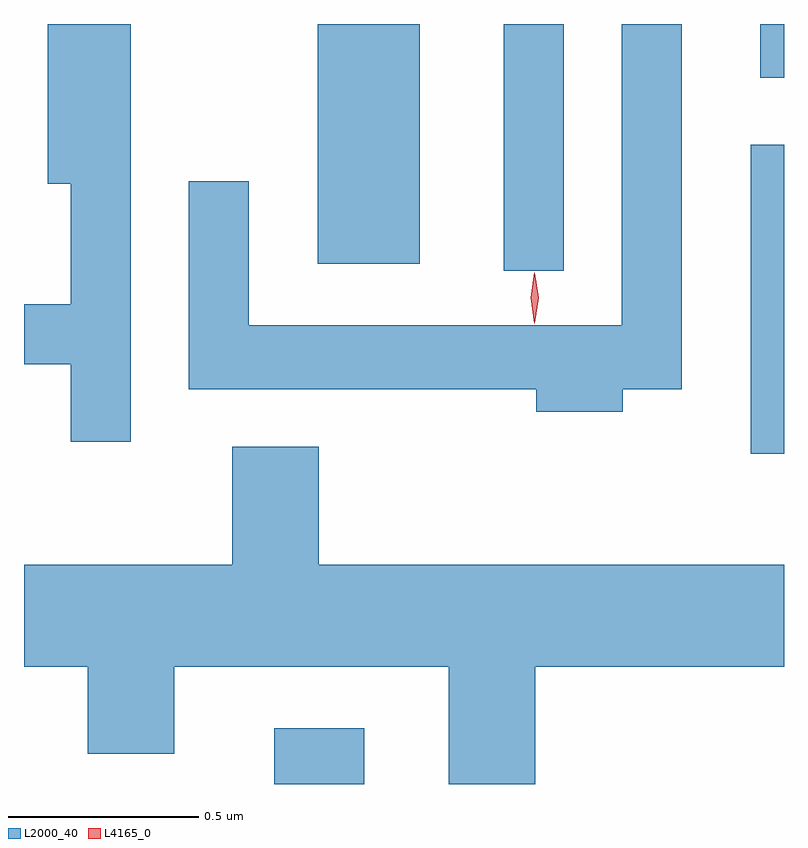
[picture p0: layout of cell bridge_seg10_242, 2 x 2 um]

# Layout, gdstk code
import gdstk
lib = gdstk.Library(unit=1e-6, precision=1e-09)
def R(c, l, rs):  # rectangles x0, y0, x1, y1
    for r in rs: c.add(gdstk.rectangle(r[:2], r[2:], *l))
def P(c, l, *ps):  # polygons
    for p in ps: c.add(gdstk.Polygon(p, *l))
L2000_40 = (2000, 40)
L4165_0 = (4165, 0)

bridge_seg10_242 = lib.new_cell('bridge_seg10_242')
R(bridge_seg10_242, L2000_40, [(1796.531,2093.627,1796.768,2093.774), (1797.786,2094.496,1797.873,2095.309), (1797.136,2094.978,1797.294,2095.627), (1796.646,2094.996,1796.914,2095.627), (1797.811,2095.486,1797.873,2095.627)])
P(bridge_seg10_242, L2000_40, [(1797.449,2094.666),(1797.604,2094.666),(1797.604,2095.627),(1797.446,2095.627),(1797.446,2094.834),(1796.464,2094.834),(1796.464,2095.213),(1796.306,2095.213),(1796.306,2094.666),(1797.221,2094.666),(1797.221,2094.606),(1797.449,2094.606)],
  [(1796.154,2095.627),(1795.936,2095.627),(1795.936,2095.206),(1795.996,2095.206),(1795.996,2094.889),(1795.873,2094.889),(1795.873,2094.731),(1795.996,2094.731),(1795.996,2094.528),(1796.154,2094.528)],
  [(1797.219,2093.936),(1797.873,2093.936),(1797.873,2094.204),(1796.649,2094.204),(1796.649,2094.514),(1796.421,2094.514),(1796.421,2094.204),(1795.873,2094.204),(1795.873,2093.936),(1796.041,2093.936),(1796.041,2093.706),(1796.269,2093.706),(1796.269,2093.936),(1796.991,2093.936),(1796.991,2093.627),(1797.219,2093.627)])
P(bridge_seg10_242, L4165_0, [(1797.217,2094.839),(1797.216,2094.84),(1797.207,2094.906),(1797.216,2094.972),(1797.216,2094.973),(1797.217,2094.972),(1797.227,2094.906),(1797.217,2094.84)])

lib.write_gds('bridge_seg10_242.gds')
